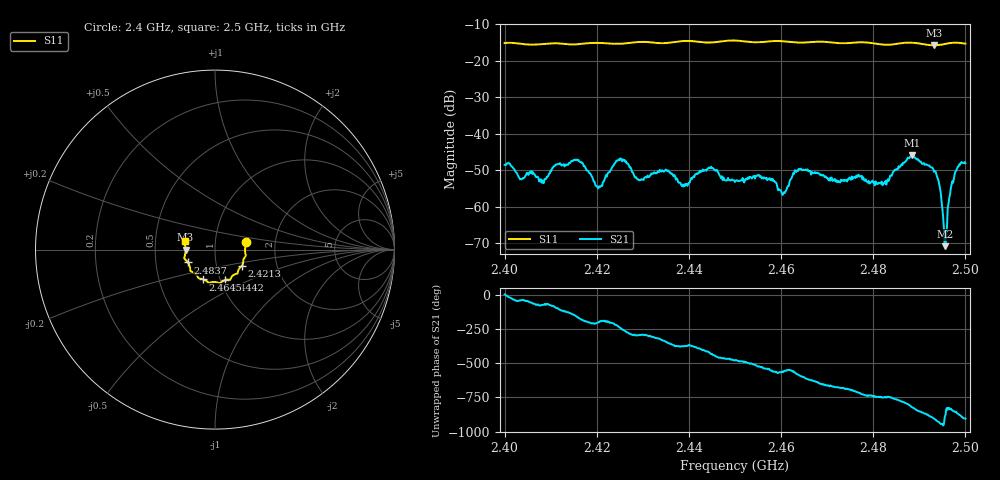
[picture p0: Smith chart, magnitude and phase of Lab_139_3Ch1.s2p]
# Hz S RI R 50
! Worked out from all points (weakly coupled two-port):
!   601 points, 2.4 GHz to 2.5 GHz, reference 50 ohm
!   highest |S21| = -45.90 dB at 2.4885 GHz (marker M1); lowest = -70.8 dB at 2.4957 GHz (marker M2)
!   lowest |S11| = -15.7 dB at 2.4932 GHz (marker M3), VSWR 1.39, Z = 35.9 - j0.062 ohm
!   |S11| at or under -10 dB: start of sweep to end of sweep
!   S12 and S22 are empty: the file has one direction only
!   S11 on the Smith chart (normalised r, x): 2.4 GHz: 1.41, +0.12; 2.4213 GHz: 1.33, -0.25; 2.4442 GHz: 1.05, -0.37; 2.4645 GHz: 0.83, -0.29; 2.4837 GHz: 0.73, -0.11; 2.5 GHz: 0.71, +0.07
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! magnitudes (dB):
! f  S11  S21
! 2.4 GHz  -15.1  -48.5
! 2.408 GHz  -15.4  -53.4
! 2.4167 GHz  -15.3  -47.9
! 2.4213 GHz  -15.1  -53.3
! 2.4248 GHz  -15.3  -47.0
! 2.4292 GHz  -14.8  -52.7
! 2.4333 GHz  -15.1  -50.3
! 2.4388 GHz  -14.5  -54.5
! 2.4442 GHz  -15.0  -49.5
! 2.45 GHz  -14.4  -53.2
! 2.455 GHz  -14.9  -51.3
! 2.4605 GHz  -14.6  -56.4
! 2.4645 GHz  -15.0  -50.0
! 2.4667 GHz  -14.8  -50.5
! 2.4833 GHz  -15.6  -52.9
! 2.4837 GHz  -15.5  -51.5
! 2.4885 GHz  -15.0  -45.9
! 2.4932 GHz  -15.7  -50.4
! 2.4942 GHz  -15.7  -52.8
! 2.4957 GHz  -15.3  -70.8
! 2.4973 GHz  -15.0  -53.4
! 2.5 GHz  -15.2  -48.1
